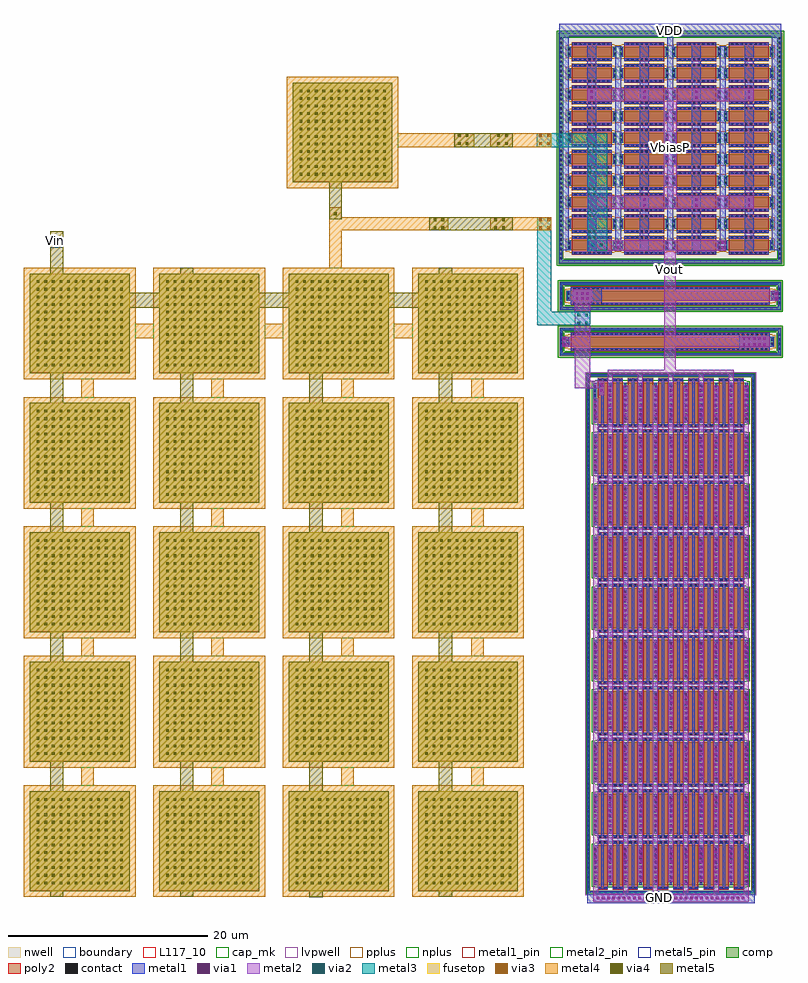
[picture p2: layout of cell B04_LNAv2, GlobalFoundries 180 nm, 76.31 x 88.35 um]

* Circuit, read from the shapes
.subckt B04_LNAv2 GND VDD VbiasP Vin Vout
XM1 Vout n1 GND GND nfet_03v3 w=4u l=1u m=100
XM2 Vout Vout n1 n1 pfet_03v3 w=1u l=20u
XM3 Vout n1 n1 Vout pfet_03v3 w=1u l=20u
XM4 Vout VbiasP VDD VDD pfet_03v3 w=1u l=4u m=40
XC5 Vin n1 cap_mim_2f0fF c_width=10u c_length=10u m=20
XC6 n1 Vout cap_mim_2f0fF c_width=10u c_length=10u
.ends

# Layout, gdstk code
from math import pi, radians
import gdstk
lib = gdstk.Library(unit=1e-6, precision=1e-09)
def R(c, l, rs):  # rectangles x0, y0, x1, y1
    for r in rs: c.add(gdstk.rectangle(r[:2], r[2:], *l))
def A(c, l, x, y, w, h, nx, ny, dx, dy):  # array of equal rectangles
    R(c, l, [(x+i*dx, y+j*dy, x+i*dx+w, y+j*dy+h) for i in range(nx) for j in range(ny)])
boundary = (0, 0)
nwell = (21, 0)
comp = (22, 0)
poly2 = (30, 0)
pplus = (31, 0)
nplus = (32, 0)
contact = (33, 0)
metal1 = (34, 0)
metal1_pin = (34, 10)
via1 = (35, 0)
metal2 = (36, 0)
metal2_pin = (36, 10)
via2 = (38, 0)
via3 = (40, 0)
via4 = (41, 0)
metal3 = (42, 0)
metal4 = (46, 0)
fusetop = (75, 0)
metal5 = (81, 0)
metal5_pin = (81, 10)
cap_mk = (117, 5)
L117_10 = (117, 10)
lvpwell = (204, 0)

cap_mim_5_1 = lib.new_cell('cap_mim$5$1')
A(cap_mim_5_1, via4, 0.69, 0.69, 0.26, 0.26, 12, 12, 0.76, 0.76)
R(cap_mim_5_1, metal4, [(-0.6,-0.6,10.6,10.6)])
R(cap_mim_5_1, fusetop, [(0,0,10,10)])
R(cap_mim_5_1, metal5, [(0,0,10,10)])
R(cap_mim_5_1, cap_mk, [(-0.6,-0.6,10.6,10.6)])
R(cap_mim_5_1, L117_10, [(0,0,10,0.1)])

via_dev_18_1 = lib.new_cell('via_dev$18$1')
R(via_dev_18_1, via4, [(0.12,0.12,0.38,0.38)])
R(via_dev_18_1, metal4, [(0,0,0.5,0.5)])
R(via_dev_18_1, metal5, [(0,0,0.5,0.5)])

via_dev_2_3 = lib.new_cell('via_dev$2$3')
R(via_dev_2_3, via4, [(0.07,0.07,0.33,0.33)])
R(via_dev_2_3, metal4, [(0,0,0.4,0.4)])
R(via_dev_2_3, metal5, [(0,0,0.4,0.4)])

via_dev_3 = lib.new_cell('via_dev$3')
R(via_dev_3, metal2, [(0,0,0.4,0.4)])
R(via_dev_3, via2, [(0.07,0.07,0.33,0.33)])
R(via_dev_3, metal3, [(0,0,0.4,0.4)])

via_dev_1 = lib.new_cell('via_dev$1')
R(via_dev_1, via3, [(0.07,0.07,0.33,0.33)])
R(via_dev_1, metal3, [(0,0,0.4,0.4)])
R(via_dev_1, metal4, [(0,0,0.4,0.4)])

nfet_03v3_p9rwne = lib.new_cell('nfet_03v3_P9RWNE')
R(nfet_03v3_p9rwne, boundary, [(-8.29,-25.97,8.29,25.97)])
A(nfet_03v3_p9rwne, comp, -7.78, -25.22, 15.56, 4, 1, 10, 0, 5.16)
R(nfet_03v3_p9rwne, comp, [(-8.47,-26.15,8.47,-25.79), (-8.47,-25.79,-8.11,25.79), (8.11,-25.79,8.47,25.79), (-8.47,25.79,8.47,26.15)])
A(nfet_03v3_p9rwne, poly2, -7.34, -25.68, 1, 4.92, 10, 10, 1.52, 5.16)
R(nfet_03v3_p9rwne, pplus, [(-8.49,-26.17,8.49,-25.77), (-8.49,-25.77,-8.08,-25.665), (8.08,-25.77,8.49,-25.665), (-8.5,-25.665,-8.08,25.665), (8.08,-25.665,8.5,25.665), (-8.49,25.665,-8.08,25.77), (8.08,25.665,8.49,25.77), (-8.49,25.77,8.49,26.17)])
A(nfet_03v3_p9rwne, nplus, -7.94, -25.38, 15.88, 4.32, 1, 10, 0, 5.16)
R(nfet_03v3_p9rwne, nplus, [(-7.57,-25.45,7.57,-25.38), (-7.57,-21.06,7.57,-20.99), (-7.57,-20.29,7.57,-20.22), (-7.57,-15.9,7.57,-15.83), (-7.57,-15.13,7.57,-15.06), (-7.57,-10.74,7.57,-10.67), (-7.57,-9.97,7.57,-9.9), (-7.57,-5.58,7.57,-5.51), (-7.57,-4.81,7.57,-4.74), (-7.57,-0.42,7.57,-0.35), (-7.57,0.35,7.57,0.42), (-7.57,4.74,7.57,4.81), (-7.57,5.51,7.57,5.58), (-7.57,9.9,7.57,9.97), (-7.57,10.67,7.57,10.74), (-7.57,15.06,7.57,15.13), (-7.57,15.83,7.57,15.9), (-7.57,20.22,7.57,20.29), (-7.57,20.99,7.57,21.06), (-7.57,25.38,7.57,25.45)])
A(nfet_03v3_p9rwne, contact, -8.4, -25.49, 0.22, 0.22, 1, 109, 0, 0.47)
A(nfet_03v3_p9rwne, contact, 8.18, -25.49, 0.22, 0.22, 1, 109, 0, 0.47)
A(nfet_03v3_p9rwne, contact, -7.71, -24.975, 0.22, 0.22, 11, 8, 1.52, 0.47)
A(nfet_03v3_p9rwne, contact, -7.71, -19.815, 0.22, 0.22, 11, 8, 1.52, 0.47)
A(nfet_03v3_p9rwne, contact, -7.71, -14.655, 0.22, 0.22, 11, 8, 1.52, 0.47)
A(nfet_03v3_p9rwne, contact, -7.71, -9.495, 0.22, 0.22, 11, 8, 1.52, 0.47)
A(nfet_03v3_p9rwne, contact, -7.71, -4.335, 0.22, 0.22, 11, 8, 1.52, 0.47)
A(nfet_03v3_p9rwne, contact, -7.71, 0.825, 0.22, 0.22, 11, 8, 1.52, 0.47)
A(nfet_03v3_p9rwne, contact, -7.71, 5.985, 0.22, 0.22, 11, 8, 1.52, 0.47)
A(nfet_03v3_p9rwne, contact, -7.71, 11.145, 0.22, 0.22, 11, 8, 1.52, 0.47)
A(nfet_03v3_p9rwne, contact, -7.71, 16.305, 0.22, 0.22, 11, 8, 1.52, 0.47)
A(nfet_03v3_p9rwne, contact, -7.71, 21.465, 0.22, 0.22, 11, 8, 1.52, 0.47)
R(nfet_03v3_p9rwne, contact, [(-7.185,-25.61,-6.965,-25.39), (-6.715,-25.61,-6.495,-25.39), (-5.665,-25.61,-5.445,-25.39), (-5.195,-25.61,-4.975,-25.39), (-4.145,-25.61,-3.925,-25.39), (-3.675,-25.61,-3.455,-25.39), (-2.625,-25.61,-2.405,-25.39), (-2.155,-25.61,-1.935,-25.39), (-1.105,-25.61,-0.885,-25.39), (-0.635,-25.61,-0.415,-25.39), (0.415,-25.61,0.635,-25.39), (0.885,-25.61,1.105,-25.39), (1.935,-25.61,2.155,-25.39), (2.405,-25.61,2.625,-25.39), (3.455,-25.61,3.675,-25.39), (3.925,-25.61,4.145,-25.39), (4.975,-25.61,5.195,-25.39), (5.445,-25.61,5.665,-25.39), (6.495,-25.61,6.715,-25.39), (6.965,-25.61,7.185,-25.39), (-7.185,-21.05,-6.965,-20.83), (-6.715,-21.05,-6.495,-20.83), (-5.665,-21.05,-5.445,-20.83), (-5.195,-21.05,-4.975,-20.83), (-4.145,-21.05,-3.925,-20.83), (-3.675,-21.05,-3.455,-20.83), (-2.625,-21.05,-2.405,-20.83), (-2.155,-21.05,-1.935,-20.83), (-1.105,-21.05,-0.885,-20.83), (-0.635,-21.05,-0.415,-20.83), (0.415,-21.05,0.635,-20.83), (0.885,-21.05,1.105,-20.83), (1.935,-21.05,2.155,-20.83), (2.405,-21.05,2.625,-20.83), (3.455,-21.05,3.675,-20.83), (3.925,-21.05,4.145,-20.83), (4.975,-21.05,5.195,-20.83), (5.445,-21.05,5.665,-20.83), (6.495,-21.05,6.715,-20.83), (6.965,-21.05,7.185,-20.83), (-7.185,-20.45,-6.965,-20.23), (-6.715,-20.45,-6.495,-20.23), (-5.665,-20.45,-5.445,-20.23), (-5.195,-20.45,-4.975,-20.23), (-4.145,-20.45,-3.925,-20.23), (-3.675,-20.45,-3.455,-20.23), (-2.625,-20.45,-2.405,-20.23), (-2.155,-20.45,-1.935,-20.23), (-1.105,-20.45,-0.885,-20.23), (-0.635,-20.45,-0.415,-20.23), (0.415,-20.45,0.635,-20.23), (0.885,-20.45,1.105,-20.23), (1.935,-20.45,2.155,-20.23), (2.405,-20.45,2.625,-20.23), (3.455,-20.45,3.675,-20.23), (3.925,-20.45,4.145,-20.23), (4.975,-20.45,5.195,-20.23), (5.445,-20.45,5.665,-20.23), (6.495,-20.45,6.715,-20.23), (6.965,-20.45,7.185,-20.23), (-7.185,-15.89,-6.965,-15.67), (-6.715,-15.89,-6.495,-15.67), (-5.665,-15.89,-5.445,-15.67), (-5.195,-15.89,-4.975,-15.67), (-4.145,-15.89,-3.925,-15.67), (-3.675,-15.89,-3.455,-15.67), (-2.625,-15.89,-2.405,-15.67), (-2.155,-15.89,-1.935,-15.67), (-1.105,-15.89,-0.885,-15.67), (-0.635,-15.89,-0.415,-15.67), (0.415,-15.89,0.635,-15.67), (0.885,-15.89,1.105,-15.67), (1.935,-15.89,2.155,-15.67), (2.405,-15.89,2.625,-15.67), (3.455,-15.89,3.675,-15.67), (3.925,-15.89,4.145,-15.67), (4.975,-15.89,5.195,-15.67), (5.445,-15.89,5.665,-15.67), (6.495,-15.89,6.715,-15.67), (6.965,-15.89,7.185,-15.67), (-7.185,-15.29,-6.965,-15.07), (-6.715,-15.29,-6.495,-15.07), (-5.665,-15.29,-5.445,-15.07), (-5.195,-15.29,-4.975,-15.07), (-4.145,-15.29,-3.925,-15.07), (-3.675,-15.29,-3.455,-15.07), (-2.625,-15.29,-2.405,-15.07), (-2.155,-15.29,-1.935,-15.07), (-1.105,-15.29,-0.885,-15.07), (-0.635,-15.29,-0.415,-15.07), (0.415,-15.29,0.635,-15.07), (0.885,-15.29,1.105,-15.07), (1.935,-15.29,2.155,-15.07), (2.405,-15.29,2.625,-15.07), (3.455,-15.29,3.675,-15.07), (3.925,-15.29,4.145,-15.07), (4.975,-15.29,5.195,-15.07), (5.445,-15.29,5.665,-15.07), (6.495,-15.29,6.715,-15.07), (6.965,-15.29,7.185,-15.07), (-7.185,-10.73,-6.965,-10.51), (-6.715,-10.73,-6.495,-10.51), (-5.665,-10.73,-5.445,-10.51), (-5.195,-10.73,-4.975,-10.51), (-4.145,-10.73,-3.925,-10.51), (-3.675,-10.73,-3.455,-10.51), (-2.625,-10.73,-2.405,-10.51), (-2.155,-10.73,-1.935,-10.51), (-1.105,-10.73,-0.885,-10.51), (-0.635,-10.73,-0.415,-10.51), (0.415,-10.73,0.635,-10.51), (0.885,-10.73,1.105,-10.51), (1.935,-10.73,2.155,-10.51), (2.405,-10.73,2.625,-10.51), (3.455,-10.73,3.675,-10.51), (3.925,-10.73,4.145,-10.51), (4.975,-10.73,5.195,-10.51), (5.445,-10.73,5.665,-10.51), (6.495,-10.73,6.715,-10.51), (6.965,-10.73,7.185,-10.51), (-7.185,-10.13,-6.965,-9.91), (-6.715,-10.13,-6.495,-9.91), (-5.665,-10.13,-5.445,-9.91), (-5.195,-10.13,-4.975,-9.91), (-4.145,-10.13,-3.925,-9.91), (-3.675,-10.13,-3.455,-9.91), (-2.625,-10.13,-2.405,-9.91), (-2.155,-10.13,-1.935,-9.91), (-1.105,-10.13,-0.885,-9.91), (-0.635,-10.13,-0.415,-9.91), (0.415,-10.13,0.635,-9.91), (0.885,-10.13,1.105,-9.91), (1.935,-10.13,2.155,-9.91), (2.405,-10.13,2.625,-9.91), (3.455,-10.13,3.675,-9.91), (3.925,-10.13,4.145,-9.91), (4.975,-10.13,5.195,-9.91), (5.445,-10.13,5.665,-9.91), (6.495,-10.13,6.715,-9.91), (6.965,-10.13,7.185,-9.91), (-7.185,-5.57,-6.965,-5.35), (-6.715,-5.57,-6.495,-5.35), (-5.665,-5.57,-5.445,-5.35), (-5.195,-5.57,-4.975,-5.35), (-4.145,-5.57,-3.925,-5.35), (-3.675,-5.57,-3.455,-5.35), (-2.625,-5.57,-2.405,-5.35), (-2.155,-5.57,-1.935,-5.35), (-1.105,-5.57,-0.885,-5.35), (-0.635,-5.57,-0.415,-5.35), (0.415,-5.57,0.635,-5.35), (0.885,-5.57,1.105,-5.35), (1.935,-5.57,2.155,-5.35), (2.405,-5.57,2.625,-5.35), (3.455,-5.57,3.675,-5.35), (3.925,-5.57,4.145,-5.35), (4.975,-5.57,5.195,-5.35), (5.445,-5.57,5.665,-5.35), (6.495,-5.57,6.715,-5.35), (6.965,-5.57,7.185,-5.35), (-7.185,-4.97,-6.965,-4.75), (-6.715,-4.97,-6.495,-4.75), (-5.665,-4.97,-5.445,-4.75), (-5.195,-4.97,-4.975,-4.75), (-4.145,-4.97,-3.925,-4.75), (-3.675,-4.97,-3.455,-4.75), (-2.625,-4.97,-2.405,-4.75), (-2.155,-4.97,-1.935,-4.75), (-1.105,-4.97,-0.885,-4.75), (-0.635,-4.97,-0.415,-4.75), (0.415,-4.97,0.635,-4.75), (0.885,-4.97,1.105,-4.75), (1.935,-4.97,2.155,-4.75), (2.405,-4.97,2.625,-4.75), (3.455,-4.97,3.675,-4.75), (3.925,-4.97,4.145,-4.75), (4.975,-4.97,5.195,-4.75), (5.445,-4.97,5.665,-4.75), (6.495,-4.97,6.715,-4.75), (6.965,-4.97,7.185,-4.75), (-7.185,-0.41,-6.965,-0.19), (-6.715,-0.41,-6.495,-0.19), (-5.665,-0.41,-5.445,-0.19), (-5.195,-0.41,-4.975,-0.19), (-4.145,-0.41,-3.925,-0.19), (-3.675,-0.41,-3.455,-0.19), (-2.625,-0.41,-2.405,-0.19), (-2.155,-0.41,-1.935,-0.19), (-1.105,-0.41,-0.885,-0.19), (-0.635,-0.41,-0.415,-0.19), (0.415,-0.41,0.635,-0.19), (0.885,-0.41,1.105,-0.19), (1.935,-0.41,2.155,-0.19), (2.405,-0.41,2.625,-0.19), (3.455,-0.41,3.675,-0.19), (3.925,-0.41,4.145,-0.19), (4.975,-0.41,5.195,-0.19), (5.445,-0.41,5.665,-0.19), (6.495,-0.41,6.715,-0.19), (6.965,-0.41,7.185,-0.19), (-7.185,0.19,-6.965,0.41), (-6.715,0.19,-6.495,0.41), (-5.665,0.19,-5.445,0.41), (-5.195,0.19,-4.975,0.41), (-4.145,0.19,-3.925,0.41), (-3.675,0.19,-3.455,0.41), (-2.625,0.19,-2.405,0.41), (-2.155,0.19,-1.935,0.41), (-1.105,0.19,-0.885,0.41), (-0.635,0.19,-0.415,0.41), (0.415,0.19,0.635,0.41), (0.885,0.19,1.105,0.41), (1.935,0.19,2.155,0.41), (2.405,0.19,2.625,0.41), (3.455,0.19,3.675,0.41), (3.925,0.19,4.145,0.41), (4.975,0.19,5.195,0.41), (5.445,0.19,5.665,0.41), (6.495,0.19,6.715,0.41), (6.965,0.19,7.185,0.41), (-7.185,4.75,-6.965,4.97), (-6.715,4.75,-6.495,4.97), (-5.665,4.75,-5.445,4.97), (-5.195,4.75,-4.975,4.97), (-4.145,4.75,-3.925,4.97), (-3.675,4.75,-3.455,4.97), (-2.625,4.75,-2.405,4.97), (-2.155,4.75,-1.935,4.97), (-1.105,4.75,-0.885,4.97), (-0.635,4.75,-0.415,4.97), (0.415,4.75,0.635,4.97), (0.885,4.75,1.105,4.97), (1.935,4.75,2.155,4.97), (2.405,4.75,2.625,4.97), (3.455,4.75,3.675,4.97), (3.925,4.75,4.145,4.97), (4.975,4.75,5.195,4.97), (5.445,4.75,5.665,4.97), (6.495,4.75,6.715,4.97), (6.965,4.75,7.185,4.97), (-7.185,5.35,-6.965,5.57), (-6.715,5.35,-6.495,5.57), (-5.665,5.35,-5.445,5.57), (-5.195,5.35,-4.975,5.57), (-4.145,5.35,-3.925,5.57), (-3.675,5.35,-3.455,5.57), (-2.625,5.35,-2.405,5.57), (-2.155,5.35,-1.935,5.57), (-1.105,5.35,-0.885,5.57), (-0.635,5.35,-0.415,5.57), (0.415,5.35,0.635,5.57), (0.885,5.35,1.105,5.57), (1.935,5.35,2.155,5.57), (2.405,5.35,2.625,5.57), (3.455,5.35,3.675,5.57), (3.925,5.35,4.145,5.57), (4.975,5.35,5.195,5.57), (5.445,5.35,5.665,5.57), (6.495,5.35,6.715,5.57), (6.965,5.35,7.185,5.57), (-7.185,9.91,-6.965,10.13), (-6.715,9.91,-6.495,10.13), (-5.665,9.91,-5.445,10.13), (-5.195,9.91,-4.975,10.13), (-4.145,9.91,-3.925,10.13), (-3.675,9.91,-3.455,10.13), (-2.625,9.91,-2.405,10.13), (-2.155,9.91,-1.935,10.13), (-1.105,9.91,-0.885,10.13), (-0.635,9.91,-0.415,10.13), (0.415,9.91,0.635,10.13), (0.885,9.91,1.105,10.13), (1.935,9.91,2.155,10.13), (2.405,9.91,2.625,10.13), (3.455,9.91,3.675,10.13), (3.925,9.91,4.145,10.13), (4.975,9.91,5.195,10.13), (5.445,9.91,5.665,10.13), (6.495,9.91,6.715,10.13), (6.965,9.91,7.185,10.13), (-7.185,10.51,-6.965,10.73), (-6.715,10.51,-6.495,10.73), (-5.665,10.51,-5.445,10.73), (-5.195,10.51,-4.975,10.73), (-4.145,10.51,-3.925,10.73), (-3.675,10.51,-3.455,10.73), (-2.625,10.51,-2.405,10.73), (-2.155,10.51,-1.935,10.73), (-1.105,10.51,-0.885,10.73), (-0.635,10.51,-0.415,10.73), (0.415,10.51,0.635,10.73), (0.885,10.51,1.105,10.73), (1.935,10.51,2.155,10.73), (2.405,10.51,2.625,10.73), (3.455,10.51,3.675,10.73), (3.925,10.51,4.145,10.73), (4.975,10.51,5.195,10.73), (5.445,10.51,5.665,10.73), (6.495,10.51,6.715,10.73), (6.965,10.51,7.185,10.73), (-7.185,15.07,-6.965,15.29), (-6.715,15.07,-6.495,15.29), (-5.665,15.07,-5.445,15.29), (-5.195,15.07,-4.975,15.29), (-4.145,15.07,-3.925,15.29), (-3.675,15.07,-3.455,15.29), (-2.625,15.07,-2.405,15.29), (-2.155,15.07,-1.935,15.29), (-1.105,15.07,-0.885,15.29), (-0.635,15.07,-0.415,15.29), (0.415,15.07,0.635,15.29), (0.885,15.07,1.105,15.29), (1.935,15.07,2.155,15.29), (2.405,15.07,2.625,15.29), (3.455,15.07,3.675,15.29), (3.925,15.07,4.145,15.29), (4.975,15.07,5.195,15.29), (5.445,15.07,5.665,15.29), (6.495,15.07,6.715,15.29), (6.965,15.07,7.185,15.29), (-7.185,15.67,-6.965,15.89), (-6.715,15.67,-6.495,15.89), (-5.665,15.67,-5.445,15.89), (-5.195,15.67,-4.975,15.89), (-4.145,15.67,-3.925,15.89), (-3.675,15.67,-3.455,15.89), (-2.625,15.67,-2.405,15.89), (-2.155,15.67,-1.935,15.89), (-1.105,15.67,-0.885,15.89), (-0.635,15.67,-0.415,15.89), (0.415,15.67,0.635,15.89), (0.885,15.67,1.105,15.89), (1.935,15.67,2.155,15.89), (2.405,15.67,2.625,15.89), (3.455,15.67,3.675,15.89), (3.925,15.67,4.145,15.89), (4.975,15.67,5.195,15.89), (5.445,15.67,5.665,15.89), (6.495,15.67,6.715,15.89), (6.965,15.67,7.185,15.89), (-7.185,20.23,-6.965,20.45), (-6.715,20.23,-6.495,20.45), (-5.665,20.23,-5.445,20.45), (-5.195,20.23,-4.975,20.45), (-4.145,20.23,-3.925,20.45), (-3.675,20.23,-3.455,20.45), (-2.625,20.23,-2.405,20.45), (-2.155,20.23,-1.935,20.45), (-1.105,20.23,-0.885,20.45), (-0.635,20.23,-0.415,20.45), (0.415,20.23,0.635,20.45), (0.885,20.23,1.105,20.45), (1.935,20.23,2.155,20.45), (2.405,20.23,2.625,20.45), (3.455,20.23,3.675,20.45), (3.925,20.23,4.145,20.45), (4.975,20.23,5.195,20.45), (5.445,20.23,5.665,20.45), (6.495,20.23,6.715,20.45), (6.965,20.23,7.185,20.45), (-7.185,20.83,-6.965,21.05), (-6.715,20.83,-6.495,21.05), (-5.665,20.83,-5.445,21.05), (-5.195,20.83,-4.975,21.05), (-4.145,20.83,-3.925,21.05), (-3.675,20.83,-3.455,21.05), (-2.625,20.83,-2.405,21.05), (-2.155,20.83,-1.935,21.05), (-1.105,20.83,-0.885,21.05), (-0.635,20.83,-0.415,21.05), (0.415,20.83,0.635,21.05), (0.885,20.83,1.105,21.05), (1.935,20.83,2.155,21.05), (2.405,20.83,2.625,21.05), (3.455,20.83,3.675,21.05), (3.925,20.83,4.145,21.05), (4.975,20.83,5.195,21.05), (5.445,20.83,5.665,21.05), (6.495,20.83,6.715,21.05), (6.965,20.83,7.185,21.05), (-7.185,25.39,-6.965,25.61), (-6.715,25.39,-6.495,25.61), (-5.665,25.39,-5.445,25.61), (-5.195,25.39,-4.975,25.61), (-4.145,25.39,-3.925,25.61), (-3.675,25.39,-3.455,25.61), (-2.625,25.39,-2.405,25.61), (-2.155,25.39,-1.935,25.61), (-1.105,25.39,-0.885,25.61), (-0.635,25.39,-0.415,25.61), (0.415,25.39,0.635,25.61), (0.885,25.39,1.105,25.61), (1.935,25.39,2.155,25.61), (2.405,25.39,2.625,25.61), (3.455,25.39,3.675,25.61), (3.925,25.39,4.145,25.61), (4.975,25.39,5.195,25.61), (5.445,25.39,5.665,25.61), (6.495,25.39,6.715,25.61), (6.965,25.39,7.185,25.61)])
A(nfet_03v3_p9rwne, metal1, -7.33, -25.615, 0.98, 0.23, 10, 2, 1.52, 4.56)
A(nfet_03v3_p9rwne, metal1, -7.715, -25.21, 0.23, 3.98, 11, 10, 1.52, 5.16)
A(nfet_03v3_p9rwne, metal1, -7.33, -20.455, 0.98, 0.23, 10, 2, 1.52, 4.56)
A(nfet_03v3_p9rwne, metal1, -7.33, -15.295, 0.98, 0.23, 10, 2, 1.52, 4.56)
A(nfet_03v3_p9rwne, metal1, -7.33, -10.135, 0.98, 0.23, 10, 2, 1.52, 4.56)
A(nfet_03v3_p9rwne, metal1, -7.33, -4.975, 0.98, 0.23, 10, 2, 1.52, 4.56)
A(nfet_03v3_p9rwne, metal1, -7.33, 0.185, 0.98, 0.23, 10, 2, 1.52, 4.56)
A(nfet_03v3_p9rwne, metal1, -7.33, 5.345, 0.98, 0.23, 10, 2, 1.52, 4.56)
A(nfet_03v3_p9rwne, metal1, -7.33, 10.505, 0.98, 0.23, 10, 2, 1.52, 4.56)
A(nfet_03v3_p9rwne, metal1, -7.33, 15.665, 0.98, 0.23, 10, 2, 1.52, 4.56)
A(nfet_03v3_p9rwne, metal1, -7.33, 20.825, 0.98, 0.23, 10, 2, 1.52, 4.56)
R(nfet_03v3_p9rwne, metal1, [(-8.405,-26.085,8.405,-25.855), (-8.405,-25.855,-8.175,25.855), (8.175,-25.855,8.405,25.855), (-8.405,25.855,8.405,26.085)])
R(nfet_03v3_p9rwne, lvpwell, [(-8.59,-26.27,8.59,26.27)])

pfet_03v3_rubd7b = lib.new_cell('pfet_03v3_RUBD7B')
R(pfet_03v3_rubd7b, boundary, [(-10.95,-1.25,10.95,1.25)])
R(pfet_03v3_rubd7b, nwell, [(-11.25,-1.55,11.25,1.55)])
R(pfet_03v3_rubd7b, comp, [(-11.13,-1.43,11.13,-1.07), (-11.13,-1.07,-10.77,1.07), (10.77,-1.07,11.13,1.07), (-10.44,-0.5,10.44,0.5), (-11.13,1.07,11.13,1.43)])
R(pfet_03v3_rubd7b, poly2, [(-10,-0.96,10,0.96)])
R(pfet_03v3_rubd7b, pplus, [(-10.23,-0.73,10.23,-0.66), (-10.6,-0.66,10.6,0.66), (-10.23,0.66,10.23,0.73)])
R(pfet_03v3_rubd7b, nplus, [(-11.29,-1.59,11.29,-0.96), (-11.29,-0.96,-10.66,0.96), (10.66,-0.96,11.29,0.96), (-11.29,0.96,11.29,1.59)])
A(pfet_03v3_rubd7b, contact, -9.745, -0.89, 0.22, 0.22, 42, 2, 0.47, 1.56)
A(pfet_03v3_rubd7b, contact, -11.06, -0.815, 0.22, 0.22, 1, 4, 0, 0.47)
A(pfet_03v3_rubd7b, contact, 10.84, -0.815, 0.22, 0.22, 1, 4, 0, 0.47)
R(pfet_03v3_rubd7b, contact, [(-10.37,-0.345,-10.15,-0.125), (10.15,-0.345,10.37,-0.125), (-10.37,0.125,-10.15,0.345), (10.15,0.125,10.37,0.345)])
R(pfet_03v3_rubd7b, metal1, [(-11.065,-1.365,11.065,-1.135), (-11.065,-1.135,-10.835,1.135), (10.835,-1.135,11.065,1.135), (-9.99,-0.895,9.99,-0.665), (-10.375,-0.49,-10.145,0.49), (10.145,-0.49,10.375,0.49), (-9.99,0.665,9.99,0.895), (-11.065,1.135,11.065,1.365)])

pfet_03v3_q6nysf = lib.new_cell('pfet_03v3_Q6NYSF')
R(pfet_03v3_q6nysf, nwell, [(-2.87,-11.11,2.87,11.11)])
A(pfet_03v3_q6nysf, comp, -2.44, -10.22, 4.88, 1, 1, 10, 0, 2.16)
A(pfet_03v3_q6nysf, poly2, -2, -10.68, 4, 1.92, 1, 10, 0, 2.16)
A(pfet_03v3_q6nysf, pplus, -2.6, -10.38, 5.2, 1.32, 1, 10, 0, 2.16)
R(pfet_03v3_q6nysf, pplus, [(-2.23,-10.45,2.23,-10.38), (-2.23,-9.06,2.23,-8.99), (-2.23,-8.29,2.23,-8.22), (-2.23,-6.9,2.23,-6.83), (-2.23,-6.13,2.23,-6.06), (-2.23,-4.74,2.23,-4.67), (-2.23,-3.97,2.23,-3.9), (-2.23,-2.58,2.23,-2.51), (-2.23,-1.81,2.23,-1.74), (-2.23,-0.42,2.23,-0.35), (-2.23,0.35,2.23,0.42), (-2.23,1.74,2.23,1.81), (-2.23,2.51,2.23,2.58), (-2.23,3.9,2.23,3.97), (-2.23,4.67,2.23,4.74), (-2.23,6.06,2.23,6.13), (-2.23,6.83,2.23,6.9), (-2.23,8.22,2.23,8.29), (-2.23,8.99,2.23,9.06), (-2.23,10.38,2.23,10.45)])
A(pfet_03v3_q6nysf, contact, -1.755, -10.61, 0.22, 0.22, 8, 2, 0.47, 1.56)
A(pfet_03v3_q6nysf, contact, -1.755, -8.45, 0.22, 0.22, 8, 2, 0.47, 1.56)
A(pfet_03v3_q6nysf, contact, -1.755, -6.29, 0.22, 0.22, 8, 2, 0.47, 1.56)
A(pfet_03v3_q6nysf, contact, -1.755, -4.13, 0.22, 0.22, 8, 2, 0.47, 1.56)
A(pfet_03v3_q6nysf, contact, -1.755, -1.97, 0.22, 0.22, 8, 2, 0.47, 1.56)
A(pfet_03v3_q6nysf, contact, -1.755, 0.19, 0.22, 0.22, 8, 2, 0.47, 1.56)
A(pfet_03v3_q6nysf, contact, -1.755, 2.35, 0.22, 0.22, 8, 2, 0.47, 1.56)
A(pfet_03v3_q6nysf, contact, -1.755, 4.51, 0.22, 0.22, 8, 2, 0.47, 1.56)
A(pfet_03v3_q6nysf, contact, -1.755, 6.67, 0.22, 0.22, 8, 2, 0.47, 1.56)
A(pfet_03v3_q6nysf, contact, -1.755, 8.83, 0.22, 0.22, 8, 2, 0.47, 1.56)
R(pfet_03v3_q6nysf, contact, [(-2.37,-10.065,-2.15,-9.845), (2.15,-10.065,2.37,-9.845), (-2.37,-9.595,-2.15,-9.375), (2.15,-9.595,2.37,-9.375), (-2.37,-7.905,-2.15,-7.685), (2.15,-7.905,2.37,-7.685), (-2.37,-7.435,-2.15,-7.215), (2.15,-7.435,2.37,-7.215), (-2.37,-5.745,-2.15,-5.525), (2.15,-5.745,2.37,-5.525), (-2.37,-5.275,-2.15,-5.055), (2.15,-5.275,2.37,-5.055), (-2.37,-3.585,-2.15,-3.365), (2.15,-3.585,2.37,-3.365), (-2.37,-3.115,-2.15,-2.895), (2.15,-3.115,2.37,-2.895), (-2.37,-1.425,-2.15,-1.205), (2.15,-1.425,2.37,-1.205), (-2.37,-0.955,-2.15,-0.735), (2.15,-0.955,2.37,-0.735), (-2.37,0.735,-2.15,0.955), (2.15,0.735,2.37,0.955), (-2.37,1.205,-2.15,1.425), (2.15,1.205,2.37,1.425), (-2.37,2.895,-2.15,3.115), (2.15,2.895,2.37,3.115), (-2.37,3.365,-2.15,3.585), (2.15,3.365,2.37,3.585), (-2.37,5.055,-2.15,5.275), (2.15,5.055,2.37,5.275), (-2.37,5.525,-2.15,5.745), (2.15,5.525,2.37,5.745), (-2.37,7.215,-2.15,7.435), (2.15,7.215,2.37,7.435), (-2.37,7.685,-2.15,7.905), (2.15,7.685,2.37,7.905), (-2.37,9.375,-2.15,9.595), (2.15,9.375,2.37,9.595), (-2.37,9.845,-2.15,10.065), (2.15,9.845,2.37,10.065)])
A(pfet_03v3_q6nysf, metal1, -2.375, -10.21, 0.23, 0.98, 1, 10, 0, 2.16)
A(pfet_03v3_q6nysf, metal1, 2.145, -10.21, 0.23, 0.98, 1, 10, 0, 2.16)
R(pfet_03v3_q6nysf, metal1, [(-1.99,-10.615,1.99,-10.385), (-1.99,-9.055,1.99,-8.825), (-1.99,-8.455,1.99,-8.225), (-1.99,-6.895,1.99,-6.665), (-1.99,-6.295,1.99,-6.065), (-1.99,-4.735,1.99,-4.505), (-1.99,-4.135,1.99,-3.905), (-1.99,-2.575,1.99,-2.345), (-1.99,-1.975,1.99,-1.745), (-1.99,-0.415,1.99,-0.185), (-1.99,0.185,1.99,0.415), (-1.99,1.745,1.99,1.975), (-1.99,2.345,1.99,2.575), (-1.99,3.905,1.99,4.135), (-1.99,4.505,1.99,4.735), (-1.99,6.065,1.99,6.295), (-1.99,6.665,1.99,6.895), (-1.99,8.225,1.99,8.455), (-1.99,8.825,1.99,9.055), (-1.99,10.385,1.99,10.615)])

b04_lnav2 = lib.new_cell('B04_LNAv2')
R(b04_lnav2, nwell, [(-0.65,-0.65,22.15,22.9)])
R(b04_lnav2, comp, [(-0.5,-0.5,22,0), (-0.5,0,0,22.25), (21.5,0,22,22.25), (-0.5,22.25,22,22.75)])
A(b04_lnav2, pplus, 5.47, 0.73, 0.05, 1.32, 3, 10, 5.25, 2.16)
R(b04_lnav2, nplus, [(-0.66,-0.66,22.16,0.02), (-0.66,0.02,0.02,22.23), (21.48,0.02,22.16,22.23), (-0.66,22.23,22.16,22.91)])
A(b04_lnav2, contact, -0.36, -0.03, 0.22, 0.22, 1, 48, 0, 0.47)
A(b04_lnav2, contact, 21.64, -0.03, 0.22, 0.22, 1, 48, 0, 0.47)
A(b04_lnav2, metal1, 14.5, -63.1, 0.25, 4.6, 3, 1, 1.5, 0)
A(b04_lnav2, metal1, 3, -62.5, 0.5, 3.45, 1, 9, 0, 5.15)
A(b04_lnav2, metal1, 4.45, -62.5, 0.5, 3.45, 1, 10, 0, 5.15)
A(b04_lnav2, metal1, 6, -62.5, 0.5, 3.45, 3, 10, 1.5, 5.15)
A(b04_lnav2, metal1, 10.55, -62.5, 0.5, 3.45, 1, 10, 0, 5.15)
A(b04_lnav2, metal1, 12.05, -62.5, 0.5, 3.45, 1, 10, 0, 5.15)
A(b04_lnav2, metal1, 13.6, -62.5, 0.5, 3.45, 4, 10, 1.5, 5.15)
A(b04_lnav2, metal1, 3.5, -58.5, 14.6, 0.45, 1, 3, 0, 5.15)
A(b04_lnav2, metal1, 14.5, -58.05, 0.25, 4.7, 3, 2, 1.5, 5.15)
A(b04_lnav2, metal1, 14.5, -47.75, 0.25, 4.75, 3, 2, 1.5, 25.8)
A(b04_lnav2, metal1, 3.5, -43, 14.6, 0.45, 1, 5, 0, 5.15)
A(b04_lnav2, metal1, 3.8, -42.55, 0.25, 4.7, 1, 4, 0, 5.15)
A(b04_lnav2, metal1, 5.35, -42.55, 0.25, 4.7, 1, 4, 0, 5.15)
A(b04_lnav2, metal1, 6.85, -42.55, 0.25, 4.7, 1, 4, 0, 5.15)
A(b04_lnav2, metal1, 8.4, -42.55, 0.25, 4.7, 1, 4, 0, 5.15)
A(b04_lnav2, metal1, 9.9, -42.55, 0.25, 4.7, 1, 4, 0, 5.15)
A(b04_lnav2, metal1, 11.45, -42.55, 0.25, 4.7, 1, 4, 0, 5.15)
A(b04_lnav2, metal1, 12.95, -42.55, 0.25, 4.7, 1, 4, 0, 5.15)
A(b04_lnav2, metal1, 14.5, -42.55, 0.25, 4.7, 3, 4, 1.5, 5.15)
A(b04_lnav2, metal1, 14.5, -16.75, 0.25, 4.65, 3, 1, 1.5, 0)
R(b04_lnav2, metal1, [(2.4,-64.7,19.2,-63.65), (3.8,-63.1,4.05,-58.5), (5.35,-63.1,5.6,-58.5), (6.85,-63.1,7.1,-58.5), (8.4,-63.1,8.65,-58.5), (9.9,-63.1,10.15,-58.5), (11.45,-63.1,11.7,-58.5), (12.95,-63.1,13.2,-58.5), (3.8,-58.05,4.05,-53.35), (5.35,-58.05,5.6,-53.35), (6.85,-58.05,7.1,-53.35), (8.4,-58.05,8.65,-53.35), (9.9,-58.05,10.15,-53.35), (11.45,-58.05,11.7,-53.35), (12.95,-58.05,13.2,-53.35), (3.8,-52.9,4.05,-48.2), (5.35,-52.9,5.6,-48.2), (6.85,-52.9,7.1,-48.2), (8.4,-52.9,8.65,-48.2), (9.9,-52.9,10.15,-48.2), (11.45,-52.9,11.7,-48.2), (12.95,-52.9,13.2,-48.2), (3.8,-47.75,4.05,-43), (5.35,-47.75,5.6,-43), (6.85,-47.75,7.1,-43), (8.4,-47.75,8.65,-43), (9.9,-47.75,10.15,-43), (11.45,-47.75,11.7,-43), (12.95,-47.75,13.2,-43), (3.8,-21.95,4.05,-17.2), (5.35,-21.95,5.6,-17.2), (6.85,-21.95,7.1,-17.2), (8.4,-21.95,8.65,-17.2), (9.9,-21.95,10.15,-17.2), (11.45,-21.95,11.7,-17.2), (12.95,-21.95,13.2,-17.2), (3.5,-17.2,18.1,-16.75), (3.8,-16.75,4.05,-13.65), (5.35,-16.75,5.6,-12.1), (6.85,-16.75,7.1,-12.1), (8.4,-16.75,8.65,-12.1), (9.9,-16.75,10.15,-12.1), (11.45,-16.75,11.7,-12.1), (12.95,-16.75,13.2,-12.1), (3,-16.15,3.5,-14), (3.6,-13.65,4.1,-12.2), (3.8,-12.2,4.05,-12.1), (17.65,-9.05,20.75,-8.8), (-0.2,-8.8,0.4,-7.8), (17.65,-8.8,21.05,-7.8), (17.65,-7.8,20.75,-7.55), (1,-4.45,3.85,-4.4), (0.75,-4.4,3.85,-4.2), (0.6,-4.2,3.85,-4.15), (21.1,-4.2,21.7,-3.2), (0.5,-4.15,3.85,-3.25), (0.6,-3.25,3.85,-3.2), (0.75,-3.2,3.85,-2.9), (0.75,-2.9,3.6,-2.85), (-0.4,-0.4,21.9,-0.1), (-0.4,-0.1,-0.1,0.9), (21.6,-0.1,21.9,0.9), (12.9,0.55,13.8,21.7), (2.4,0.6,3.3,21.7), (18.2,0.6,19.1,21.7), (7.7,0.65,8.6,21.65), (5.2,0.85,5.8,21.35), (15.7,0.85,16.3,21.35), (-0.4,0.9,0.55,22.35), (10.45,0.9,11.05,22.35), (20.95,0.9,21.9,22.35), (-0.4,22.35,21.9,23.65)])
R(b04_lnav2, metal1_pin, [(10.35,22.8,11.05,23.05)])
A(b04_lnav2, via1, 3.365, -64.28, 0.26, 0.26, 29, 1, 0.52, 0)
A(b04_lnav2, via1, 3.12, -62.205, 0.26, 0.26, 1, 6, 0, 0.52)
A(b04_lnav2, via1, 4.57, -62.205, 0.26, 0.26, 1, 6, 0, 0.52)
A(b04_lnav2, via1, 6.12, -62.205, 0.26, 0.26, 3, 6, 1.5, 0.52)
A(b04_lnav2, via1, 10.67, -62.205, 0.26, 0.26, 1, 6, 0, 0.52)
A(b04_lnav2, via1, 12.17, -62.205, 0.26, 0.26, 1, 6, 0, 0.52)
A(b04_lnav2, via1, 13.72, -62.205, 0.26, 0.26, 4, 6, 1.5, 0.52)
A(b04_lnav2, via1, 3.12, -57.055, 0.26, 0.26, 1, 6, 0, 0.52)
A(b04_lnav2, via1, 4.57, -57.055, 0.26, 0.26, 1, 6, 0, 0.52)
A(b04_lnav2, via1, 6.12, -57.055, 0.26, 0.26, 3, 6, 1.5, 0.52)
A(b04_lnav2, via1, 10.67, -57.055, 0.26, 0.26, 1, 6, 0, 0.52)
A(b04_lnav2, via1, 12.17, -57.055, 0.26, 0.26, 1, 6, 0, 0.52)
A(b04_lnav2, via1, 13.72, -57.055, 0.26, 0.26, 4, 6, 1.5, 0.52)
A(b04_lnav2, via1, 3.12, -51.905, 0.26, 0.26, 1, 6, 0, 0.52)
A(b04_lnav2, via1, 4.57, -51.905, 0.26, 0.26, 1, 6, 0, 0.52)
A(b04_lnav2, via1, 6.12, -51.905, 0.26, 0.26, 3, 6, 1.5, 0.52)
A(b04_lnav2, via1, 10.67, -51.905, 0.26, 0.26, 1, 6, 0, 0.52)
A(b04_lnav2, via1, 12.17, -51.905, 0.26, 0.26, 1, 6, 0, 0.52)
A(b04_lnav2, via1, 13.72, -51.905, 0.26, 0.26, 4, 6, 1.5, 0.52)
A(b04_lnav2, via1, 3.12, -46.755, 0.26, 0.26, 1, 6, 0, 0.52)
A(b04_lnav2, via1, 4.57, -46.755, 0.26, 0.26, 1, 6, 0, 0.52)
A(b04_lnav2, via1, 6.12, -46.755, 0.26, 0.26, 3, 6, 1.5, 0.52)
A(b04_lnav2, via1, 10.67, -46.755, 0.26, 0.26, 1, 6, 0, 0.52)
A(b04_lnav2, via1, 12.17, -46.755, 0.26, 0.26, 1, 6, 0, 0.52)
A(b04_lnav2, via1, 13.72, -46.755, 0.26, 0.26, 4, 6, 1.5, 0.52)
A(b04_lnav2, via1, 3.12, -41.605, 0.26, 0.26, 1, 6, 0, 0.52)
A(b04_lnav2, via1, 4.57, -41.605, 0.26, 0.26, 1, 6, 0, 0.52)
A(b04_lnav2, via1, 6.12, -41.605, 0.26, 0.26, 3, 6, 1.5, 0.52)
A(b04_lnav2, via1, 10.67, -41.605, 0.26, 0.26, 1, 6, 0, 0.52)
A(b04_lnav2, via1, 12.17, -41.605, 0.26, 0.26, 1, 6, 0, 0.52)
A(b04_lnav2, via1, 13.72, -41.605, 0.26, 0.26, 4, 6, 1.5, 0.52)
A(b04_lnav2, via1, 3.12, -36.455, 0.26, 0.26, 1, 6, 0, 0.52)
A(b04_lnav2, via1, 4.57, -36.455, 0.26, 0.26, 1, 6, 0, 0.52)
A(b04_lnav2, via1, 6.12, -36.455, 0.26, 0.26, 3, 6, 1.5, 0.52)
A(b04_lnav2, via1, 10.67, -36.455, 0.26, 0.26, 1, 6, 0, 0.52)
A(b04_lnav2, via1, 12.17, -36.455, 0.26, 0.26, 1, 6, 0, 0.52)
A(b04_lnav2, via1, 13.72, -36.455, 0.26, 0.26, 4, 6, 1.5, 0.52)
A(b04_lnav2, via1, 3.12, -31.305, 0.26, 0.26, 1, 6, 0, 0.52)
A(b04_lnav2, via1, 4.57, -31.305, 0.26, 0.26, 1, 6, 0, 0.52)
A(b04_lnav2, via1, 6.12, -31.305, 0.26, 0.26, 3, 6, 1.5, 0.52)
A(b04_lnav2, via1, 10.67, -31.305, 0.26, 0.26, 1, 6, 0, 0.52)
A(b04_lnav2, via1, 12.17, -31.305, 0.26, 0.26, 1, 6, 0, 0.52)
A(b04_lnav2, via1, 13.72, -31.305, 0.26, 0.26, 4, 6, 1.5, 0.52)
A(b04_lnav2, via1, 3.12, -26.155, 0.26, 0.26, 1, 6, 0, 0.52)
A(b04_lnav2, via1, 4.57, -26.155, 0.26, 0.26, 1, 6, 0, 0.52)
A(b04_lnav2, via1, 6.12, -26.155, 0.26, 0.26, 3, 6, 1.5, 0.52)
A(b04_lnav2, via1, 10.67, -26.155, 0.26, 0.26, 1, 6, 0, 0.52)
A(b04_lnav2, via1, 12.17, -26.155, 0.26, 0.26, 1, 6, 0, 0.52)
A(b04_lnav2, via1, 13.72, -26.155, 0.26, 0.26, 4, 6, 1.5, 0.52)
A(b04_lnav2, via1, 3.12, -21.005, 0.26, 0.26, 1, 6, 0, 0.52)
A(b04_lnav2, via1, 4.57, -21.005, 0.26, 0.26, 1, 6, 0, 0.52)
A(b04_lnav2, via1, 6.12, -21.005, 0.26, 0.26, 3, 6, 1.5, 0.52)
A(b04_lnav2, via1, 10.67, -21.005, 0.26, 0.26, 1, 6, 0, 0.52)
A(b04_lnav2, via1, 12.17, -21.005, 0.26, 0.26, 1, 6, 0, 0.52)
A(b04_lnav2, via1, 13.72, -21.005, 0.26, 0.26, 4, 6, 1.5, 0.52)
A(b04_lnav2, via1, 3.12, -15.985, 0.26, 0.26, 1, 4, 0, 0.52)
A(b04_lnav2, via1, 4.57, -15.855, 0.26, 0.26, 1, 6, 0, 0.52)
A(b04_lnav2, via1, 6.12, -15.855, 0.26, 0.26, 3, 6, 1.5, 0.52)
A(b04_lnav2, via1, 10.67, -15.855, 0.26, 0.26, 1, 6, 0, 0.52)
A(b04_lnav2, via1, 12.17, -15.855, 0.26, 0.26, 1, 6, 0, 0.52)
A(b04_lnav2, via1, 13.72, -15.855, 0.26, 0.26, 4, 6, 1.5, 0.52)
A(b04_lnav2, via1, 18.005, -8.69, 0.26, 0.26, 5, 2, 0.52, 0.52)
A(b04_lnav2, via1, 1.25, -4.09, 0.26, 0.26, 3, 2, 0.52, 0.52)
R(b04_lnav2, via1, [(3.72,-13.315,3.98,-13.055), (3.72,-12.795,3.98,-12.535), (0.02,-8.69,0.28,-8.43), (0.02,-8.17,0.28,-7.91), (21.22,-4.09,21.48,-3.83), (21.22,-3.57,21.48,-3.31), (5.37,1.01,5.63,1.27), (15.87,1.01,16.13,1.27), (5.37,1.53,5.63,1.79), (15.87,1.53,16.13,1.79), (2.72,5.31,2.98,5.57), (8.02,5.31,8.28,5.57), (13.22,5.31,13.48,5.57), (18.52,5.31,18.78,5.57), (2.72,5.83,2.98,6.09), (8.02,5.83,8.28,6.09), (13.22,5.83,13.48,6.09), (18.52,5.83,18.78,6.09), (2.72,16.11,2.98,16.37), (8.02,16.11,8.28,16.37), (13.22,16.11,13.48,16.37), (18.52,16.11,18.78,16.37), (2.72,16.63,2.98,16.89), (8.02,16.63,8.28,16.89), (13.22,16.63,13.48,16.89), (18.52,16.63,18.78,16.89)])
A(b04_lnav2, metal2, 9, -63.75, 0.5, 51.05, 3, 1, 3.05, 0)
A(b04_lnav2, metal2, 4.45, -62.5, 0.5, 50.95, 4, 1, 3.05, 0)
R(b04_lnav2, metal2, [(3,-64.55,18.6,-63.75), (3,-63.75,3.5,-14), (6,-63.75,6.5,-12.7), (18.1,-63.75,18.6,-12.7), (16.6,-62.5,17.1,-11.55), (3.6,-13.65,4.1,-12.95), (1.15,-12.95,4.1,-12.2), (1.15,-12.2,2.7,-8.8), (4.45,-11.55,17.1,-11.1), (10.15,-11.1,11.3,-8.8), (-0.1,-8.8,2.7,-7.8), (10.15,-8.8,20.75,-7.8), (1.15,-7.8,2.7,-4.35), (10.15,-7.8,11.3,-4.2), (0.95,-4.35,2.9,-3.05), (10.15,-4.2,21.6,-3.2), (10.15,-3.2,11.3,0.85), (2.45,0.85,6.45,1.9), (5.2,0.85,16.3,1.9), (2.4,5.05,19.1,6.35), (10.1,6.35,11.4,15.85), (2.4,15.85,19.1,17.15)])
R(b04_lnav2, metal2_pin, [(9.25,-64.3,10.15,-63.9), (10.4,-1.15,11,-0.9), (10.35,11,11.1,11.45)])
R(b04_lnav2, metal3, [(-2.6,-6.65,2.7,-5.3), (-2.6,-6.5,-1.2,4.2), (2.45,0.85,4.4,12.65), (-2.65,11.25,4.4,12.65)])
A(b04_lnav2, metal4, -48.4, -52.95, 1.25, 2, 4, 2, 13.05, 13.05)
A(b04_lnav2, metal4, -48.4, -27, 1.25, 2, 4, 2, 13.05, 13.05)
A(b04_lnav2, metal4, -43, -7.95, 1.95, 1.45, 3, 1, 13, 0)
R(b04_lnav2, metal4, [(-23.5,-0.95,-22.25,5.2), (-23.5,2.9,-11.55,4.2), (-7.35,2.9,-1.2,4.2), (-16.6,11.25,-8.95,12.65), (-7.35,11.25,-1.2,12.65)])
R(b04_lnav2, metal5, [(-25.5,-64.1,-24.15,-1.45), (-51.5,-64.05,-50.2,2.8), (-38.45,-64.05,-37.15,-0.85), (-12.5,-64.05,-11.15,-0.85), (-51.5,-4.9,-11.15,-3.4), (-13.45,2.9,-5.1,4.2), (-23.5,4,-22.25,8.85), (-10.95,11.25,-5.1,12.65)])
R(b04_lnav2, metal5_pin, [(-51.5,1.15,-50.2,2.8)])
r = gdstk.Reference(cap_mim_5_1, (-27.15,7.7)); r.repetition = gdstk.Repetition(1, 1, v1=(0,0), v2=(0,0)); b04_lnav2.add(r)
r = gdstk.Reference(cap_mim_5_1, (-53.55,-63.45)); r.repetition = gdstk.Repetition(4, 5, v1=(13,0), v2=(0,13)); b04_lnav2.add(r)
r = gdstk.Reference(via_dev_18_1, (-23.15,4.3)); r.repetition = gdstk.Repetition(1, 1, v1=(0,0), v2=(0,0)); b04_lnav2.add(r)
r = gdstk.Reference(via_dev_2_3, (-11.9,2.95), rotation=pi/2); r.repetition = gdstk.Repetition(2, 2, v1=(0,0.8), v2=(-0.8,0)); b04_lnav2.add(r)
r = gdstk.Reference(via_dev_3, (1.35,-6.6)); r.repetition = gdstk.Repetition(2, 2, v1=(0.8,0), v2=(0,0.8)); b04_lnav2.add(r)
r = gdstk.Reference(via_dev_3, (2.8,1.2)); r.repetition = gdstk.Repetition(2, 1, v1=(0.8,0), v2=(0,0)); b04_lnav2.add(r)
r = gdstk.Reference(via_dev_2_3, (-5.8,2.95), rotation=pi/2); r.repetition = gdstk.Repetition(2, 2, v1=(0,0.8), v2=(-0.8,0)); b04_lnav2.add(r)
r = gdstk.Reference(via_dev_1, (-1.3,2.95), rotation=pi/2); r.repetition = gdstk.Repetition(2, 2, v1=(0,0.8), v2=(-0.8,0)); b04_lnav2.add(r)
r = gdstk.Reference(via_dev_2_3, (-9.45,11.4), rotation=pi/2); r.repetition = gdstk.Repetition(2, 2, v1=(0,0.8), v2=(-0.8,0)); b04_lnav2.add(r)
r = gdstk.Reference(via_dev_2_3, (-5.5,11.4), rotation=pi/2); r.repetition = gdstk.Repetition(2, 2, v1=(0,0.8), v2=(-0.8,0)); b04_lnav2.add(r)
r = gdstk.Reference(via_dev_1, (-1.3,11.4), rotation=pi/2); r.repetition = gdstk.Repetition(2, 2, v1=(0,0.8), v2=(-0.8,0)); b04_lnav2.add(r)
b04_lnav2.add(gdstk.Reference(nfet_03v3_p9rwne, (10.79,-37.63)))
b04_lnav2.add(gdstk.Reference(pfet_03v3_rubd7b, (10.75,-8.3)))
b04_lnav2.add(gdstk.Reference(pfet_03v3_rubd7b, (10.75,-3.7)))
b04_lnav2.add(gdstk.Reference(pfet_03v3_q6nysf, (18.62,11.11)))
b04_lnav2.add(gdstk.Reference(pfet_03v3_q6nysf, (13.37,11.11)))
b04_lnav2.add(gdstk.Reference(pfet_03v3_q6nysf, (8.12,11.11)))
b04_lnav2.add(gdstk.Reference(pfet_03v3_q6nysf, (2.87,11.11)))
b04_lnav2.add(gdstk.Label('Vin', (-50.95,1.85), layer=81, texttype=10))
b04_lnav2.add(gdstk.Label('VDD', (10.7,22.925), layer=34, texttype=10))
b04_lnav2.add(gdstk.Label('GND', (9.7,-64.1), layer=34, texttype=10))
b04_lnav2.add(gdstk.Label('Vout', (10.7,-1.025), layer=36, texttype=10))
b04_lnav2.add(gdstk.Label('VbiasP', (10.725,11.225), layer=36, texttype=10))

lib.write_gds('B04_LNAv2.gds')
